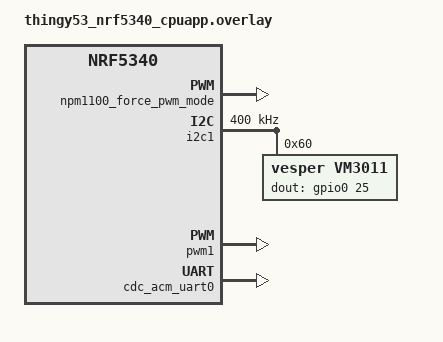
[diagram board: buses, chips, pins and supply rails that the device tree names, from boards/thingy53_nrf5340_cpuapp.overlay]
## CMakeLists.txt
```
#
# Copyright (c) 2022 Edge Impulse
#
#

cmake_minimum_required(VERSION 3.13.1)

set(PM_STATIC_YML_FILE ${CMAKE_CURRENT_SOURCE_DIR}/boards/pm_static_${BOARD}.yml)
set(CMAKE_CXX_STANDARD 11)
set(CMAKE_CXX_STANDARD_REQUIRED ON)

list(APPEND ZEPHYR_EXTRA_MODULES ${CMAKE_CURRENT_SOURCE_DIR}/drivers/vm3011 )

########################################################################## 
find_package(Zephyr REQUIRED HINTS $ENV{ZEPHYR_BASE})
project("firmware-nordic-thingy53-internal"
          VERSION 0.1)
##########################################################################

add_subdirectory(ei-model/edge-impulse-sdk/cmake/zephyr)

# Needed for colorful output
zephyr_compile_options(-fdiagnostics-color=always)

# Use hardware acceleration for DSP and Neural Network code
# You'll need to disable these on non-Arm cores
add_definitions(-DEIDSP_USE_CMSIS_DSP=1
                -DEIDSP_LOAD_CMSIS_DSP_SOURCES=1
                -DEI_CLASSIFIER_TFLITE_ENABLE_CMSIS_NN=1
                -DEIDSP_QUANTIZE_FILTERBANK=0
                -DARM_MATH_LOOPUNROLL
                -DEI_SENSOR_AQ_STREAM=FILE
                -DMBEDTLS_PLATFORM_ZEROIZE_ALT
                )

# Edge impulse SDK include directories
set(INCLUDES
    .
    drivers
    ei-model
    ei-model/tflite-model
    ei-model/model-parameters
    src
    src/libs/mbedtls_hmac_sha256_sw
    src/libs/QCBOR/inc
    src/libs/QCBOR/src
    src/libs
    )
include_directories(${INCLUDES})

RECURSIVE_FIND_FILE(MODEL_FILES "ei-model/tflite-model" "*.cpp")
RECURSIVE_FIND_FILE(FIRMWARE_SDK_FILES "firmware-sdk" "*.cpp")
RECURSIVE_FIND_FILE(LIB_QCBOR_FILES "src/libs/QCBOR/src" "*.c")
RECURSIVE_FIND_FILE(LIB_MBEDTLS_FILES "src/libs/mbedtls_hmac_sha256_sw/mbedtls/src" "*.c")
RECURSIVE_FIND_FILE(LIB_SENSOR_AQ_MBEDTLS_FILES "src/libs/sensor_aq_mbedtls" "*.cpp")
RECURSIVE_FIND_FILE(SENSORS_FILES "src/sensors" "*.cpp")
RECURSIVE_FIND_FILE(INFERENCE_FILES "src/inference" "*.cpp")

list(APPEND SOURCE_FILES ${MODEL_FILES})
list(APPEND SOURCE_FILES ${FIRMWARE_SDK_FILES})
list(APPEND SOURCE_FILES ${LIB_QCBOR_FILES})
list(APPEND SOURCE_FILES ${LIB_MBEDTLS_FILES})
list(APPEND SOURCE_FILES ${LIB_SENSOR_AQ_MBEDTLS_FILES})
list(APPEND SOURCE_FILES ${SENSORS_FILES})
list(APPEND SOURCE_FILES ${INFERENCE_FILES})

# add all sources to the project
target_sources(app PRIVATE ${SOURCE_FILES})
target_sources(app PRIVATE src/ei_base64_encode.cpp)
target_sources(app PRIVATE src/ei_device_thingy53.cpp)
target_sources(app PRIVATE src/ei_sampler.cpp)
target_sources(app PRIVATE src/flash_memory.cpp)
target_sources(app PRIVATE src/ei_result_aggregation.cpp)
target_sources(app PRIVATE src/beacon.c)
target_sources(app PRIVATE src/buzzer.c)
target_sources(app PRIVATE src/main.cpp)

# Preinitialization related to Thingy:53 DFU
target_sources_ifdef(CONFIG_BOARD_THINGY53_NRF5340_CPUAPP app PRIVATE
  boards/thingy53.c
)
```

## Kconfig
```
#
# Copyright (c) 2018 Nordic Semiconductor
#
# SPDX-License-Identifier: LicenseRef-BSD-5-Clause-Nordic
#

source "Kconfig.zephyr"

config EI_INFERENCE_THREAD_STACK
	int "Inference thread stack size"
	default 256
	help
	  "Set the Edge Impulse inference thread stack size."

config EI_INFERENCE_THREAD_PRIO
	int "Inference thread priority"
	default 5
	help
	  "Set the Edge Impulse inference thread priority. The lower number, the higher prority."

config BUZZER
	bool "Enable buzzer"
	default y 
	select PWM 
	select PWM_1 

if BUZZER

config BUZZER_PWM_DEV_NAME
	string "PWM device name for buzzer"
	default "PWM_1" 

config BUZZER_PIN
	int "Buzzer pin number"
	default 47

config BUZZER_MIN_FREQUENCY
	int "Minimum buzzer frequency"
	default 100

config BUZZER_MAX_FREQUENCY
	int "Maximum buzzer frequency"
	default 10000

endif # BUZZER

config SHOWER_TIME_MINUTES_WARNING
	int "Max. acceptable shower time ... ;)"
	default 5
```

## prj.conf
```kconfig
#
# Copyright (c) 2022 Edge Impulse
#
################################################################################
# Application configuratin

CONFIG_GPIO=y
# enable c++ support
CONFIG_CPLUSPLUS=y
CONFIG_LIB_CPLUSPLUS=y
CONFIG_NEWLIB_LIBC=y
CONFIG_NEWLIB_LIBC_FLOAT_PRINTF=y

# enable reboot from user space
CONFIG_REBOOT=y

# enable floating point unit
CONFIG_FPU=y

CONFIG_MAIN_STACK_SIZE=8192
CONFIG_HEAP_MEM_POOL_SIZE=16384
CONFIG_SYSTEM_WORKQUEUE_STACK_SIZE=4096
CONFIG_EI_INFERENCE_THREAD_STACK=4096

# serial console
CONFIG_SERIAL=y
CONFIG_UART_INTERRUPT_DRIVEN=y
CONFIG_CONSOLE_SUBSYS=n
CONFIG_CONSOLE_GETCHAR=n
CONFIG_USB_DEVICE_REMOTE_WAKEUP=n

CONFIG_NCS_SAMPLES_DEFAULTS=n
# Logging
CONFIG_ASSERT_NO_COND_INFO=y
CONFIG_ASSERT_NO_MSG_INFO=y
CONFIG_HW_STACK_PROTECTION=y

CONFIG_DEBUG=y
CONFIG_LOG=y
CONFIG_LOG_MODE_DEFERRED=y
CONFIG_LOG_PRINTK=y
CONFIG_LOG_PROCESS_THREAD_STARTUP_DELAY_MS=4000
CONFIG_LOG_BACKEND_UART=n
CONFIG_LOG_BACKEND_RTT=y
CONFIG_LOG_STRDUP_MAX_STRING=1024
# configure Segger RTT
CONFIG_USE_SEGGER_RTT=y
CONFIG_SEGGER_RTT_BUFFER_SIZE_UP=4096

# configure bluetooth
CONFIG_BT=y
CONFIG_BT_DEBUG_LOG=y
CONFIG_BT_DEVICE_NAME="ShowerTime"


CONFIG_CJSON_LIB=y

CONFIG_MCUBOOT_IMAGE_VERSION="1.0.0"
```

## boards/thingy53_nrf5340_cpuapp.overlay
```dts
/*
 * Copyright (c) 2022, Edge Impulse
 *
 */

&i2c1 {
    clock-frequency = <I2C_BITRATE_FAST>;
    vm3011@60 {
        compatible = "vesper,vm3011";
        label = "VM3011";
        reg = <0x60>;
        clk-pin = <41>;
        data-pin = <27>;
        dout-gpios = <&gpio0 25 GPIO_ACTIVE_HIGH>;
    };
};

	/* PWM1 is intended for buzzer control */
	&pwm1 {
		status = "okay";
		ch0-pin = <47>;
	};
	

/*
 * This file is used to enable a partition which is used through the flash API
 * but which is in reality stored in RAM. This is done to load data from
 * external flash to the network core. Since the network core cannot access
 * the external flash directly, the data is buffered in RAM before being
 * copied by the network core to the network core flash.
 *
 * The partition must be enabled by the application configuration to prevent
 * bus faults when mcumgr tries to access simulated partition with network core
 * image data.
 */

/ {
	soc {
		/* Add a flash controller which has the compatible
		 * 'zephyr,sim-flash'. This will ensure that the flash
		 * simulator can use it. None of the other properties in this
		 * node is used for anything.
		 */
		nordic_ram_flash_controller: nordic_ram-flash-controller@0 {
			compatible = "zephyr,sim-flash";
			reg = <0x00000000 DT_SIZE_K(40)>;
			#address-cells = <1>;
			#size-cells = <1>;
			erase-value = <0xff>;
			label = "nordic_ram_flash_flash_controller";

			/* This node label must match that used in the flash
			 * simulator.
			 */
			flash_sim0: flash_sim@0 {
				status = "okay";
				compatible = "soc-nv-flash";
				label = "simulated_flash";
				erase-block-size = <4096>;
				write-block-size = <4>;
				reg = <0x00000000 DT_SIZE_K(256)>;

				partitions {
					compatible = "fixed-partitions";
					#address-cells = <1>;
					#size-cells = <1>;

					/* This partition must be defined for
					 * MCUboot to find the partition ID
					 * of the primary slot for image 1,
					 * which is stored in this partition.
					 */
					slot2_partition: partition@0 {
						label = "image-2";
						reg = <0x00000000 0x00000A000>;
					};
				};
			};
		};

		aliases {
			buzzer-pwm = &pwm1;
		};
		
		
	};


	npm1100_force_pwm_mode: npm1100_force_pwm_mode {
		status = "okay";
	};

	chosen {
		zephyr,console = &cdc_acm_uart0;
		zephyr,shell-uart = &cdc_acm_uart0;
		nordic,pm-ext-flash = &mx25r64;
	};
};

&zephyr_udc0 {
	cdc_acm_uart0: cdc_acm_uart0 {
		compatible = "zephyr,cdc-acm-uart";
		label = "CDC_ACM_0";
	};
};
```

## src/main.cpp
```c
/*
SPDX-License-Identifier: GPL-3.0-or-later

smart-shower-timer
Copyright (C) 2022  dxcfl

This program is free software: you can redistribute it and/or modify
it under the terms of the GNU General Public License as published by
the Free Software Foundation, either version 3 of the License, or
(at your option) any later version.

This program is distributed in the hope that it will be useful,
but WITHOUT ANY WARRANTY; without even the implied warranty of
MERCHANTABILITY or FITNESS FOR A PARTICULAR PURPOSE.  See the
GNU General Public License for more details.

You should have received a copy of the GNU General Public License
along with this program.  If not, see <http://www.gnu.org/licenses/>.
*/

#include "ei_device_thingy53.h"
#include "edge-impulse-sdk/porting/ei_classifier_porting.h"
#include "inference/ei_run_impulse.h"
#include "sensors/ei_microphone.h"
#include <drivers/uart.h>
#include <logging/log.h>
#include <nrfx_clock.h>
#include <zephyr.h>
#include "ei_result_aggregation.h"
#include <dk_buttons_and_leds.h>
#include "beacon.h"
#include "buzzer.h"

#define LOG_MODULE_NAME main
LOG_MODULE_REGISTER(LOG_MODULE_NAME);

#define LED_RED DK_LED1
#define LED_GREEN DK_LED2
#define LED_BLUE DK_LED3
#define USER_BUTTON DK_BTN1_MSK

#define SHOWER_TIME_MINUTES_WARNING CONFIG_SHOWER_TIME_MINUTES_WARNING

static const struct device *uart;

void ei_putchar(char c)
{
    // it is ~30% faster than printf
    uart_fifo_fill(uart, (const uint8_t *)&c, 1);
}

// Beep and blink red LED multiple times
static void beep(const uint8_t repeat, uint16_t length)
{
    for (uint8_t i = 0; i < repeat; i++)
    {
        buzzer_set_frequency(440, 100);
        dk_set_led(LED_RED, 1);
        ei_sleep(length);
        dk_set_led(LED_RED, 0);
    }
    buzzer_set_frequency(0, 0);
    ei_sleep(length * repeat);
}

// Button handler ...
static void button_changed(uint32_t button_state, uint32_t has_changed)
{
    static uint32_t usrbtnprsd_tm = 0;
    const static uint32_t lngprs_tm = 3000;

    if (has_changed & USER_BUTTON)
    {
        uint32_t user_button_state = button_state & USER_BUTTON;
        if (user_button_state)
        {
            usrbtnprsd_tm = k_uptime_get_32();
        }
        else
        {
            // Button pressed (released) long: Reset aggregation ...
            if (k_uptime_get_32() - usrbtnprsd_tm >= lngprs_tm)
            {
                LOG_INF("User button pressed (long)!\n");
                if (is_inference_running())
                {
                    ei_stop_impulse();
                }
                ei_result_aggregation_init(0.5);
                beacon_update_with_time(0);
                dk_set_led(LED_GREEN, 1);
                dk_set_led(LED_RED, 1);
                dk_set_led(LED_BLUE, 1);
                ei_sleep(1000);
                dk_set_led(LED_GREEN, 0);
                dk_set_led(LED_RED, 0);
                dk_set_led(LED_BLUE, 0);
            }
            // Button pressed (released) short: Start / stop detection ...
            else
            {
                LOG_INF("Button pressed!\n");
                if (is_inference_running())
                {
                    ei_stop_impulse();
                }
                else
                {
                    ei_start_impulse(false, false);
                }
            }
        }
    }
}

// Setup button handler
static int init_button(void)
{
    int err;

    err = dk_buttons_init(button_changed);
    if (err)
    {
        printk("Cannot init buttons (err: %d)\n", err);
    }

    return err;
}

int main(void)
{
    /* output of printf is output immediately without buffering */
    setvbuf(stdout, NULL, _IONBF, 0);

    /* Switch CPU core clock to 128 MHz */
    nrfx_clock_divider_set(NRF_CLOCK_DOMAIN_HFCLK, NRF_CLOCK_HFCLK_DIV_1);

    /* Initialize board uart */
    uart = device_get_binding("CDC_ACM_0");
    if (!uart)
    {
        LOG_ERR("Failed to init CDC_ACM_0\n");
    }

    /* Setup the microphone sensor */
    if (ei_microphone_init() == false)
    {
        LOG_ERR("Microphone init failed!");
    }

    /* Setup BLE beacon */
    beacon_start();

    /* Setup buzzer */
    buzzer_init();

    /* Setup button */
    init_button();

    // Beep!
    beep(1, 5000);

    // Reset result aggregation
    ei_result_aggregation_init(0.5);

    uint32_t previous_meassured_time_millis = 0;
    while (1)
    {
        if (is_inference_running())
        {
            uint32_t meassured_time_millis = ei_result_aggregation_get_time(1);

            if (meassured_time_millis != previous_meassured_time_millis)
            {
                dk_set_led(LED_GREEN, 1);
                ei_sleep(500);
                dk_set_led(LED_GREEN, 0);
                beacon_update_with_time(meassured_time_millis);
                previous_meassured_time_millis = meassured_time_millis;
            }

            uint32_t meassured_time_minutes = meassured_time_millis / 60000;
            if (meassured_time_minutes >= SHOWER_TIME_MINUTES_WARNING)
            {
                beep(meassured_time_minutes, 500);
            }
        }
        ei_sleep(1);
    }
}
```

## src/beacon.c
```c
/*
SPDX-License-Identifier: GPL-3.0-or-later

iaq-monitor-demo
Copyright (C) 2021  dxcfl

This program is free software: you can redistribute it and/or modify
it under the terms of the GNU General Public License as published by
the Free Software Foundation, either version 3 of the License, or
(at your option) any later version.

This program is distributed in the hope that it will be useful,
but WITHOUT ANY WARRANTY; without even the implied warranty of
MERCHANTABILITY or FITNESS FOR A PARTICULAR PURPOSE.  See the
GNU General Public License for more details.

You should have received a copy of the GNU General Public License
along with this program.  If not, see <http://www.gnu.org/licenses/>.
*/

#include <device.h>
#include <devicetree.h>
#include <drivers/sensor.h>
#include <drivers/sensor/ccs811.h>
#include <drivers/display.h>
#include <zephyr.h>
#include <stdio.h>
#include <string.h>
#include <bluetooth/bluetooth.h>
#include <bluetooth/hci.h>

#define LOG_LEVEL CONFIG_LOG_DEFAULT_LEVEL
#include <logging/log.h>
LOG_MODULE_REGISTER(app);

#define DEVICE_NAME CONFIG_BT_DEVICE_NAME
#define DEVICE_NAME_LEN (sizeof(DEVICE_NAME) - 1)

/* Auxiliary function: Format time string.
 */
static const char *time_str(uint32_t time, bool with_millis)
{
	static char buf[16]; /* ...HH:MM:SS.MMM */
	unsigned int ms = time % MSEC_PER_SEC;
	unsigned int s;
	unsigned int min;
	unsigned int h;

	time /= MSEC_PER_SEC;
	s = time % 60U;
	time /= 60U;
	min = time % 60U;
	time /= 60U;
	h = time;
	if (with_millis)
		snprintf(buf, sizeof(buf), "%u:%02u:%02u.%03u",
				 h, min, s, ms);
	else
		snprintf(buf, sizeof(buf), "%u:%02u:%02u",
				 h, min, s);

	return buf;
}

static const char *now_str()
{
	return time_str(k_uptime_get_32(), true);
}

/* Bluetooth beacon setup ...
 * "stolen" from the Zephyr bluetooth beacon example
 * (zephyr/samples/bluetooth/beacon/main.c).
 * Setup a non-connectable Eddystone beacon.
 * Later we will "abuse" the name data in the scan
 * resonse to transport our IAQ rating.
 */

/*
 * Set Advertisement data. Based on the Eddystone specification:
 * https://github.com/google/eddystone/blob/master/protocol-specification.md
 * https://github.com/google/eddystone/tree/master/eddystone-url
 */
static const struct bt_data ad[] = {
	BT_DATA_BYTES(BT_DATA_FLAGS, BT_LE_AD_NO_BREDR),
	BT_DATA_BYTES(BT_DATA_UUID16_ALL, 0xaa, 0xfe),
	BT_DATA_BYTES(BT_DATA_SVC_DATA16,
				  0xaa, 0xfe, /* Eddystone UUID */
				  0x10,		  /* Eddystone-URL frame type */
				  0x00,		  /* Calibrated Tx power at 0m */
				  0x00,		  /* URL Scheme Prefix http://www. */
				  'e', 'x', 'a', 'm', 'p', 'l', 'e',
				  0x08) /* .org */
};

/* Set Scan Response data */
static const struct bt_data sd[] = {
	BT_DATA(BT_DATA_NAME_COMPLETE, DEVICE_NAME, DEVICE_NAME_LEN),
	BT_DATA(BT_DATA_NAME_SHORTENED, DEVICE_NAME, DEVICE_NAME_LEN),
};

static void bt_ready(int err)
{

	char addr_s[BT_ADDR_LE_STR_LEN];
	bt_addr_le_t addr = {0};
	size_t count = 1;

	if (err)
	{
		printk("\n[%s]: Bluetooth init failed (err %d)\n", now_str(), err);
		return;
	}
	printk("\n[%s]: Bluetooth initialized\n", now_str());

	/* Start advertising */
	err = bt_le_adv_start(BT_LE_ADV_NCONN_IDENTITY, ad, ARRAY_SIZE(ad),
						  sd, ARRAY_SIZE(sd));
	if (err)
	{
		printk("\n[%s]: Advertising failed to start (err %d)\n", now_str(), err);
		return;
	}

	/* For connectable advertising you would use
	 * bt_le_oob_get_local().  For non-connectable non-identity
	 * advertising an non-resolvable private address is used;
	 * there is no API to retrieve that.
	 */

	bt_id_get(&addr, &count);
	bt_addr_le_to_str(&addr, addr_s, sizeof(addr_s));

	printk("\n[%s]: Beacon started, advertising as %s\n", now_str(), addr_s);
}

/*
 * Beacon start ...
 */
void beacon_start()
{
	/* Setup and start Bluetooth beacon
	 */
	int bt_err;
	printk("\n[%s]: BT: Starting beacon ...\n", now_str());
	bt_err = bt_enable(bt_ready);
	if (bt_err)
	{
		printk("\n[%s]: BT: Initiialization failed (err %d)\n", now_str(), bt_err);
	}
}

/*
 * Beacon update ...
 */
void beacon_update_with_time(uint32_t time)
{
	/* Update the scan reponse data for the Bluetooth beacon: 'Misuse' the name data for
	 *  transporting the time.
	 */
	beacon_update(time_str(time, true));
}

/*
 * Beacon update ...
 */
void beacon_update(const char *name)
{
	int bt_err;

	struct bt_data new_sd[] = {
		BT_DATA(BT_DATA_NAME_COMPLETE, name, strlen(name)),
		BT_DATA(BT_DATA_NAME_SHORTENED, DEVICE_NAME, DEVICE_NAME_LEN),
	};
	bt_err = bt_le_adv_update_data(ad, ARRAY_SIZE(ad),
								   new_sd, ARRAY_SIZE(new_sd));
	if (bt_err)
	{
		printk("\n[%s]: BT: Advertising update failed (err %d)\n", now_str(), bt_err);
	}
}
```

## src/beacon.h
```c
/*
SPDX-License-Identifier: GPL-3.0-or-later

iaq-monitor-demo
Copyright (C) 2021  dxcfl

This program is free software: you can redistribute it and/or modify
it under the terms of the GNU General Public License as published by
the Free Software Foundation, either version 3 of the License, or
(at your option) any later version.

This program is distributed in the hope that it will be useful,
but WITHOUT ANY WARRANTY; without even the implied warranty of
MERCHANTABILITY or FITNESS FOR A PARTICULAR PURPOSE.  See the
GNU General Public License for more details.

You should have received a copy of the GNU General Public License
along with this program.  If not, see <http://www.gnu.org/licenses/>.
*/

#ifndef _BEACON_H
#define _BEACON_H

#include <cstddef>

#ifdef __cplusplus
extern "C" {
#endif

/*
 * Beacon start ...
 */
void beacon_start();

/*
 * Beacon update ...
 */
void beacon_update_with_time(uint32_t time);

/*
 * Beacon update ...
 */
void beacon_update(const char *name);

#ifdef __cplusplus
}
#endif

#endif /* _BEACON_H */
```

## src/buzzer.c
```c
/*
 * Copyright (c) 2019 Nordic Semiconductor ASA
 *
 * SPDX-License-Identifier: LicenseRef-Nordic-5-Clause
 */

#include <zephyr.h>
#include <drivers/pwm.h>
#include <logging/log.h>

#define LOG_MODULE_NAME buzzer
LOG_MODULE_REGISTER(LOG_MODULE_NAME);

#define BUZZER_MIN_FREQUENCY CONFIG_BUZZER_MIN_FREQUENCY
#define BUZZER_MAX_FREQUENCY CONFIG_BUZZER_MAX_FREQUENCY
#define BUZZER_MIN_INTENSITY 0
#define BUZZER_MAX_INTENSITY 100
#define BUZZER_MIN_DUTY_CYCLE_DIV 100
#define BUZZER_MAX_DUTY_CYCLE_DIV 2

const struct device *pwm_dev;
static atomic_t buzzer_enabled;

static uint32_t intensity_to_duty_cycle_divisor(uint8_t intensity)
{
	return MIN(
		MAX(((intensity - BUZZER_MIN_INTENSITY) *
				 (BUZZER_MAX_DUTY_CYCLE_DIV - BUZZER_MIN_DUTY_CYCLE_DIV) /
				 (BUZZER_MAX_INTENSITY - BUZZER_MIN_INTENSITY) +
			 BUZZER_MIN_DUTY_CYCLE_DIV),
			BUZZER_MAX_DUTY_CYCLE_DIV),
		BUZZER_MIN_DUTY_CYCLE_DIV);
}

static int pwm_out(uint32_t frequency, uint8_t intensity)
{
	static uint32_t prev_period;
	uint32_t period = (frequency > 0) ? USEC_PER_SEC / frequency : 0;
	uint32_t duty_cycle = (intensity == 0) ? 0 : period / intensity_to_duty_cycle_divisor(intensity);

	/* Applying workaround due to limitations in PWM driver that doesn't
	 * allow changing period while PWM is running. Setting pulse to 0
	 * disables the PWM, but not before the current period is finished.
	 */
	if (prev_period)
	{
		pwm_pin_set_usec(pwm_dev, CONFIG_BUZZER_PIN,
						 prev_period, 0, 0);
		k_sleep(K_MSEC(MAX((prev_period / USEC_PER_MSEC), 1)));
	}

	prev_period = period;

	return pwm_pin_set_usec(pwm_dev, CONFIG_BUZZER_PIN,
							period, duty_cycle, 0);
}

static void buzzer_disable(void)
{
	atomic_set(&buzzer_enabled, 0);

	pwm_out(0, 0);

#ifdef CONFIG_DEVICE_POWER_MANAGEMENT
	int err = device_set_power_state(pwm_dev,
									 DEVICE_PM_SUSPEND_STATE,
									 NULL, NULL);
	if (err)
	{
		LOG_ERR("PWM disable failed");
	}
#endif
}

static int buzzer_enable(void)
{
	int err = 0;

	atomic_set(&buzzer_enabled, 1);

#ifdef CONFIG_DEVICE_POWER_MANAGEMENT
	err = device_set_power_state(pwm_dev,
								 DEVICE_PM_ACTIVE_STATE,
								 NULL, NULL);
	if (err)
	{
		LOG_ERR("PWM enable failed");
		return err;
	}
#endif

	return err;
}

int buzzer_init(void)
{
	const char *dev_name = CONFIG_BUZZER_PWM_DEV_NAME;
	int err = 0;

	pwm_dev = device_get_binding(dev_name);
	if (!pwm_dev)
	{
		LOG_ERR("Could not bind to device %s", log_strdup(dev_name));
		err = -ENODEV;
	}

	buzzer_enable();

	return err;
}

int buzzer_set_frequency(uint32_t frequency, uint8_t intensity)
{
	if (frequency == 0 || intensity == 0)
	{
		LOG_DBG("Frequency set to 0, disabling PWM\n");
		buzzer_disable();
		return 0;
	}

	if ((frequency < BUZZER_MIN_FREQUENCY) ||
		(frequency > BUZZER_MAX_FREQUENCY))
	{
		return -EINVAL;
	}

	if ((intensity < BUZZER_MIN_INTENSITY) ||
		(intensity > BUZZER_MAX_INTENSITY))
	{
		return -EINVAL;
	}

	if (!atomic_get(&buzzer_enabled))
	{
		buzzer_enable();
	}

	return pwm_out(frequency, intensity);
}
```

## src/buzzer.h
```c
/*
 * Copyright (c) 2019 Nordic Semiconductor ASA
 *
 * SPDX-License-Identifier: LicenseRef-Nordic-5-Clause
 */
/**@file
 *
 * @brief   Buzzer control for the User Interface module. The module uses PWM to
 *	    control the buzzer output frequency.
 */

#ifndef BUZZER_H__
#define BUZZER_H__

#include <zephyr.h>

#ifdef __cplusplus
extern "C"
{
#endif

    /**@brief Initialize buzzer. */
    int buzzer_init(void);

    /**
     * @brief Set the buzzer frequency.
     *
     * @param frequency Frequency. If set to 0, the buzzer is disabled.
     *		    The frequency is limited to the range 100 - 10 000 Hz.
     * @param intensity Intensity of the buzzer output. If set to 0, the buzzer is
     *		    disabled.
     *		    The Intensity is limited to the range 0 - 100 %.
     *
     * @return 0 on success or negative error value on failure.
     */
    int buzzer_set_frequency(uint32_t frequency, uint8_t intensity);

#ifdef __cplusplus
}
#endif

#endif /* BUZZER_H__ */
```

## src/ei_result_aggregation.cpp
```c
/* EdgeImpulse firmware-nordic-thingy53 extension for simple result aggregation 
 * Copyright (c) 2022 dxcfl.
 *
 * Permission is hereby granted, free of charge, to any person obtaining a copy
 * of this software and associated documentation files (the "Software"), to deal
 * in the Software without restriction, including without limitation the rights
 * to use, copy, modify, merge, publish, distribute, sublicense, and/or sell
 * copies of the Software, and to permit persons to whom the Software is
 * furnished to do so, subject to the following conditions:
 *
 * The above copyright notice and this permission notice shall be included in
 * all copies or substantial portions of the Software.
 *
 * THE SOFTWARE IS PROVIDED "AS IS", WITHOUT WARRANTY OF ANY KIND, EXPRESS OR
 * IMPLIED, INCLUDING BUT NOT LIMITED TO THE WARRANTIES OF MERCHANTABILITY,
 * FITNESS FOR A PARTICULAR PURPOSE AND NONINFRINGEMENT. IN NO EVENT SHALL THE
 * AUTHORS OR COPYRIGHT HOLDERS BE LIABLE FOR ANY CLAIM, DAMAGES OR OTHER
 * LIABILITY, WHETHER IN AN ACTION OF CONTRACT, TORT OR OTHERWISE, ARISING FROM,
 * OUT OF OR IN CONNECTION WITH THE SOFTWARE OR THE USE OR OTHER DEALINGS IN THE
 * SOFTWARE.
 */

#include <stdint.h>
#include <cstddef>
#include "ei_result_aggregation.h"
#include "edge-impulse-sdk/classifier/ei_classifier_types.h"
#include "cJSON.h"
#include <logging/log.h>
#include <zephyr.h>

static ei_result_aggregation_t result_aggregation;

void ei_result_aggregation_init(const float value_threshold)
{
    result_aggregation = {0};
    result_aggregation.value_threshold = value_threshold;
}

void ei_result_aggregation_update(ei_impulse_result_t *result)
{
    uint32_t update = k_uptime_get_32();

    for (size_t ix = 0; ix < EI_CLASSIFIER_LABEL_COUNT; ix++)
    {
        float value = result->classification[ix].value;
        if (value >= result_aggregation.value_threshold)
        {
            if (result_aggregation.update == result_aggregation.aggregation[ix].update)
            {
                result_aggregation.aggregation[ix].runlength_last++;
            }
            else
            {
                result_aggregation.aggregation[ix].runlength_last = 1;
            }
            if (result_aggregation.aggregation[ix].runlength_last > result_aggregation.aggregation[ix].runlength_max)
            {
                result_aggregation.aggregation[ix].runlength_max = result_aggregation.aggregation[ix].runlength_last;
            }
            result_aggregation.aggregation[ix].count++;
            result_aggregation.aggregation[ix].time_sum += (update - result_aggregation.update);
            result_aggregation.aggregation[ix].update = update;
            ;

            if (value > result_aggregation.aggregation[ix].value_max)
            {
                result_aggregation.aggregation[ix].value_max = value;
            }
            if (value < result_aggregation.aggregation[ix].value_min)
            {
                result_aggregation.aggregation[ix].value_min = value;
            }
            if (result_aggregation.aggregation[ix].value_avg > 0)
            {
                result_aggregation.aggregation[ix].value_avg += value;
                result_aggregation.aggregation[ix].value_avg /= 2;
            }
        }
    }
    result_aggregation.update = update;
    result_aggregation.count++;
}

void ei_result_aggregation_add_to_json_object(cJSON *object, const char *name, size_t ix)
{
    cJSON *agg = cJSON_AddObjectToObject(object, name);
    cJSON_AddNumberToObject(agg, "count", result_aggregation.aggregation[ix].count);
    cJSON_AddNumberToObject(agg, "time", result_aggregation.aggregation[ix].time_sum);
    cJSON_AddNumberToObject(agg, "value.min", result_aggregation.aggregation[ix].value_min);
    cJSON_AddNumberToObject(agg, "value.avg", result_aggregation.aggregation[ix].value_avg);
    cJSON_AddNumberToObject(agg, "value.max", result_aggregation.aggregation[ix].value_max);
    cJSON_AddNumberToObject(agg, "run.last", result_aggregation.aggregation[ix].runlength_last);
    cJSON_AddNumberToObject(agg, "run.max", result_aggregation.aggregation[ix].runlength_max);
}

uint32_t ei_result_aggregation_get_time(size_t ix)
{
    return result_aggregation.aggregation[ix].time_sum;
}
```

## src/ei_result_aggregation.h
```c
/* EdgeImpulse firmware-nordic-thingy53 extension for simple result aggregation
 * Copyright (c) 2022 dxcfl.
 *
 * Permission is hereby granted, free of charge, to any person obtaining a copy
 * of this software and associated documentation files (the "Software"), to deal
 * in the Software without restriction, including without limitation the rights
 * to use, copy, modify, merge, publish, distribute, sublicense, and/or sell
 * copies of the Software, and to permit persons to whom the Software is
 * furnished to do so, subject to the following conditions:
 *
 * The above copyright notice and this permission notice shall be included in
 * all copies or substantial portions of the Software.
 *
 * THE SOFTWARE IS PROVIDED "AS IS", WITHOUT WARRANTY OF ANY KIND, EXPRESS OR
 * IMPLIED, INCLUDING BUT NOT LIMITED TO THE WARRANTIES OF MERCHANTABILITY,
 * FITNESS FOR A PARTICULAR PURPOSE AND NONINFRINGEMENT. IN NO EVENT SHALL THE
 * AUTHORS OR COPYRIGHT HOLDERS BE LIABLE FOR ANY CLAIM, DAMAGES OR OTHER
 * LIABILITY, WHETHER IN AN ACTION OF CONTRACT, TORT OR OTHERWISE, ARISING FROM,
 * OUT OF OR IN CONNECTION WITH THE SOFTWARE OR THE USE OR OTHER DEALINGS IN THE
 * SOFTWARE.
 */

#ifndef EI_RESULT_AGGREGATION_H
#define EI_RESULT_AGGREGATION_H

#include <stdint.h>
#include <cstddef>
#include "edge-impulse-sdk/classifier/ei_classifier_types.h"
#include "cJSON.h"

typedef struct
{
    uint32_t update;
    uint32_t count;
    uint32_t time_sum;
    uint32_t runlength_last;
    uint32_t runlength_max;
    float value_min;
    float value_max;
    float value_avg;
} ei_result_aggregation_item_t;

typedef struct
{
    float value_threshold;
    uint32_t update;
    uint32_t count;
    ei_result_aggregation_item_t aggregation[EI_CLASSIFIER_MAX_LABELS_COUNT];
} ei_result_aggregation_t;

void ei_result_aggregation_init(const float value_threshold);

void ei_result_aggregation_update(ei_impulse_result_t *result);

void ei_result_aggregation_add_to_json_object(cJSON *object, const char *name, size_t ix);

uint32_t ei_result_aggregation_get_time(size_t ix);

#endif // EI_RESULT_AGGREGATION_H
```

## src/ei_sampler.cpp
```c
/* Edge Impulse ingestion SDK
 * Copyright (c) 2022 EdgeImpulse Inc.
 *
 * Permission is hereby granted, free of charge, to any person obtaining a copy
 * of this software and associated documentation files (the "Software"), to deal
 * in the Software without restriction, including without limitation the rights
 * to use, copy, modify, merge, publish, distribute, sublicense, and/or sell
 * copies of the Software, and to permit persons to whom the Software is
 * furnished to do so, subject to the following conditions:
 *
 * The above copyright notice and this permission notice shall be included in
 * all copies or substantial portions of the Software.
 *
 * THE SOFTWARE IS PROVIDED "AS IS", WITHOUT WARRANTY OF ANY KIND, EXPRESS OR
 * IMPLIED, INCLUDING BUT NOT LIMITED TO THE WARRANTIES OF MERCHANTABILITY,
 * FITNESS FOR A PARTICULAR PURPOSE AND NONINFRINGEMENT. IN NO EVENT SHALL THE
 * AUTHORS OR COPYRIGHT HOLDERS BE LIABLE FOR ANY CLAIM, DAMAGES OR OTHER
 * LIABILITY, WHETHER IN AN ACTION OF CONTRACT, TORT OR OTHERWISE, ARISING FROM,
 * OUT OF OR IN CONNECTION WITH THE SOFTWARE OR THE USE OR OTHER DEALINGS IN THE
 * SOFTWARE.
 */

/* REMOVED ALL LOGGING OUTPUT VIA BLE ...*/

/* Include ----------------------------------------------------------------- */
#include "ei_sampler.h"
#include "ei_device_thingy53.h"
#include "firmware-sdk/ei_device_memory.h"
#include "firmware-sdk/ei_config_types.h"
#include "sensor_aq_mbedtls/sensor_aq_mbedtls_hs256.h"
#include "edge-impulse-sdk/porting/ei_classifier_porting.h"
#include <zephyr.h>
#include <logging/log.h>
#include <cstdint>
#include <cstdlib>

#define LOG_MODULE_NAME ei_sampler
LOG_MODULE_REGISTER(LOG_MODULE_NAME);

/* Forward declarations ---------------------------------------------------- */
static size_t ei_write(const void *buffer, size_t size, size_t count, EI_SENSOR_AQ_STREAM *);
static int ei_seek(EI_SENSOR_AQ_STREAM *, long int offset, int origin);
static time_t ei_time(time_t *t);
static bool sample_data_callback(const void *sample_buf, uint32_t byteLenght);
static bool create_header(sensor_aq_payload_info *payload);

/* Private variables ------------------------------------------------------- */
static uint32_t samples_required;
static uint32_t current_sample;
static uint32_t sample_buffer_size;
static uint32_t headerOffset = 0;
static uint8_t write_word_buf[4];
static int write_addr = 0;
EI_SENSOR_AQ_STREAM stream;

static unsigned char ei_mic_ctx_buffer[1024];
static sensor_aq_signing_ctx_t ei_mic_signing_ctx;
static sensor_aq_mbedtls_hs256_ctx_t ei_mic_hs_ctx;
static sensor_aq_ctx ei_sampler_ctx = {
    {ei_mic_ctx_buffer, 1024},
    &ei_mic_signing_ctx,
    &ei_write,
    &ei_seek,
    &ei_time,
};

/**
 * @brief      Write sample data to FLASH
 * @details    Write size is always 4 bytes to keep alignment
 *
 * @param[in]  buffer     The buffer
 * @param[in]  size       The size
 * @param[in]  count      The count
 * @param      EI_SENSOR_AQ_STREAM file pointer (not used)
 *
 * @return     number of bytes handled
 */
static size_t ei_write(const void *buffer, size_t size, size_t count, EI_SENSOR_AQ_STREAM *)
{
    EiDeviceMemory *mem = EiDeviceInfo::get_device()->get_memory();

    for (size_t i = 0; i < count; i++)
    {
        write_word_buf[write_addr & 0x3] = *((char *)buffer + i);

        if ((++write_addr & 0x03) == 0x00)
        {
            mem->write_sample_data(write_word_buf, (write_addr - 4) + headerOffset, 4);
        }
    }

    return count;
}

/**
 * @brief      File handle seed function. Not used
 */
static int ei_seek(EI_SENSOR_AQ_STREAM *, long int offset, int origin)
{
    return 0;
}

/**
 * @brief      File handle time function. Not used
 */
static time_t ei_time(time_t *t)
{
    time_t cur_time = 4564867;
    if (t)
        *(t) = cur_time;
    return cur_time;
}

/**
 * @brief      Write out remaining data in word buffer to FLASH.
 *             And append CBOR end character.
 */
static void ei_write_last_data(void)
{
    EiDeviceMemory *mem = EiDeviceInfo::get_device()->get_memory();
    uint8_t fill = ((uint8_t)write_addr & 0x03);
    uint8_t insert_end_address = 0;

    if (fill != 0x00)
    {
        for (uint8_t i = fill; i < 4; i++)
        {
            write_word_buf[i] = 0xFF;
        }

        mem->write_sample_data(write_word_buf, (write_addr & ~0x03) + headerOffset, 4);
        insert_end_address = 4;
    }

    /* Write appending word for end character */
    for (uint8_t i = 0; i < 4; i++)
    {
        write_word_buf[i] = 0xFF;
    }
    mem->write_sample_data(write_word_buf, (write_addr & ~0x03) + headerOffset + insert_end_address, 4);
}

bool ei_sampler_start_sampling(void *v_ptr_payload, starter_callback ei_sample_start, uint32_t sample_size)
{
    EiDeviceThingy53 *dev = static_cast<EiDeviceThingy53 *>(EiDeviceInfo::get_device());
    EiDeviceMemory *mem = dev->get_memory();
    char *json_string = NULL;
    sensor_aq_payload_info *payload = (sensor_aq_payload_info *)v_ptr_payload;

    LOG_INF("Interval: %.5f ms.", dev->get_sample_interval_ms());
    LOG_INF("Length: %u ms.", dev->get_sample_length_ms());
    LOG_INF("Name: %s", log_strdup(dev->get_sample_label().c_str()));
    LOG_INF("HMAC Key: %s", log_strdup(dev->get_sample_hmac_key().c_str()));
    LOG_INF("File name: %s", log_strdup(dev->get_sample_label().c_str()));
    ei_printf("Sampling settings:\n");
    ei_printf("\tInterval: %.5f ms.\n", dev->get_sample_interval_ms());
    ei_printf("\tLength: %lu ms.\n", dev->get_sample_length_ms());
    ei_printf("\tName: %s\n", dev->get_sample_label().c_str());
    ei_printf("\tHMAC Key: %s\n", dev->get_sample_hmac_key().c_str());
    ei_printf("\tFile name: %s\n", dev->get_sample_label().c_str());

    samples_required = (uint32_t)((dev->get_sample_length_ms()) / dev->get_sample_interval_ms());
    sample_buffer_size = (samples_required * sample_size) * 2;
    current_sample = 0;

    // Minimum delay of 2000 ms for daemon
    uint32_t delay_time_ms = ((sample_buffer_size / mem->block_size) + 1) * mem->block_erase_time;
    LOG_INF("Starting in %d ms... (or until all flash was erased)", delay_time_ms < 2000 ? 2000 : delay_time_ms);
    ei_printf("Starting in %lu ms... (or until all flash was erased)\n", delay_time_ms < 2000 ? 2000 : delay_time_ms);

    dev->set_state(eiStateErasingFlash);

    if (mem->erase_sample_data(0, sample_buffer_size) != (sample_buffer_size))
    {
        ei_printf("ERR: Failed to erase samples memory\n");
        return false;
    }

    // if erasing took less than 2 seconds, wait additional time
    if (delay_time_ms < 2000)
    {
        ei_sleep(2000 - delay_time_ms);
    }

    if (create_header(payload) == false)
    {
        LOG_ERR("Failed to create header");
        return false;
    }

    if (ei_sample_start(&sample_data_callback, dev->get_sample_interval_ms()) == false)
    {
        LOG_ERR("Failed to start sampling");
        return false;
    }

    LOG_INF("Sampling...");

    ei_printf("Sampling...\n");

    dev->set_state(eiStateSampling);

    while (current_sample < samples_required)
    {
        ei_sleep(10);
    }
    dev->stop_sample_thread();

    ei_write_last_data();
    write_addr++;

    uint8_t final_byte[] = {0xff};
    int ctx_err = ei_sampler_ctx.signature_ctx->update(ei_sampler_ctx.signature_ctx, final_byte, 1);
    if (ctx_err != 0)
    {
        LOG_ERR("Failed to update data signature");
        return ctx_err;
    }

    // finish the signing
    ctx_err =
        ei_sampler_ctx.signature_ctx->finish(ei_sampler_ctx.signature_ctx, ei_sampler_ctx.hash_buffer.buffer);

    // load the first page in flash...
    uint8_t *page_buffer = (uint8_t *)ei_malloc(mem->block_size);
    if (!page_buffer)
    {
        LOG_ERR("Failed to allocate a page buffer to write the hash");
        ei_printf("Failed to allocate a page buffer to write the hash\n");
        return false;
    }

    uint32_t j = mem->read_sample_data(page_buffer, 0, mem->block_size);
    if (j != mem->block_size)
    {

        LOG_ERR("Failed to read first page (%d)", j);

        ei_printf("Failed to read first page (%d)\n", j);

        ei_free(page_buffer);
        return false;
    }

    // update the hash
    uint8_t *hash = ei_sampler_ctx.hash_buffer.buffer;
    // we have allocated twice as much for this data (because we also want to be able to represent
    // in hex) thus only loop over the first half of the bytes as the signature_ctx has written to
    // those
    for (size_t hash_ix = 0; hash_ix < (ei_sampler_ctx.hash_buffer.size / 2); hash_ix++)
    {
        // this might seem convoluted, but snprintf() with %02x is not always supported e.g. by
        // newlib-nano we encode as hex... first ASCII char encodes top 4 bytes
        uint8_t first = (hash[hash_ix] >> 4) & 0xf;
        // second encodes lower 4 bytes
        uint8_t second = hash[hash_ix] & 0xf;

        // if 0..9 -> '0' (48) + value, if >10, then use 'a' (97) - 10 + value
        char first_c = first >= 10 ? 87 + first : 48 + first;
        char second_c = second >= 10 ? 87 + second : 48 + second;

        page_buffer[ei_sampler_ctx.signature_index + (hash_ix * 2) + 0] = first_c;
        page_buffer[ei_sampler_ctx.signature_index + (hash_ix * 2) + 1] = second_c;
    }

    j = mem->erase_sample_data(0, mem->block_size);
    if (j != mem->block_size)
    {

        LOG_ERR("Failed to erase first page (%d)", j);

        ei_printf("Failed to erase first page (%d)\n", j);

        ei_free(page_buffer);
        return false;
    }

    j = mem->write_sample_data(page_buffer, 0, mem->block_size);

    ei_free(page_buffer);

    if (j != mem->block_size)
    {
        LOG_ERR("Failed to write first page with updated hash (%d)", j);
        ei_printf("Failed to write first page with updated hash (%d)\n", j);
        return false;
    }

    ei_printf("Done sampling, total bytes collected: %lu\n", samples_required);
    ei_printf("[1/1] Uploading file to Edge Impulse...\n");
    ei_printf("Not uploading file, not connected to WiFi. Used buffer, from=0, to=%lu.\n", write_addr + headerOffset);
    ei_printf("OK\n");

    return true;
}

/**
 * @brief      Create and write the CBOR header to FLASH
 *
 * @param      payload  The payload
 *
 * @return     True on success
 */
static bool create_header(sensor_aq_payload_info *payload)
{
    EiDeviceInfo *dev = EiDeviceInfo::get_device();
    EiDeviceMemory *mem = dev->get_memory();
    sensor_aq_init_mbedtls_hs256_context(&ei_mic_signing_ctx, &ei_mic_hs_ctx, dev->get_sample_hmac_key().c_str());

    int tr = sensor_aq_init(&ei_sampler_ctx, payload, NULL, true);

    if (tr != AQ_OK)
    {
        ei_printf("sensor_aq_init failed (%d)\n", tr);
        return false;
    }
    // then we're gonna find the last byte that is not 0x00 in the CBOR buffer.
    // That should give us the whole header
    size_t end_of_header_ix = 0;
    for (size_t ix = ei_sampler_ctx.cbor_buffer.len - 1; ix != 0; ix--)
    {
        if (((uint8_t *)ei_sampler_ctx.cbor_buffer.ptr)[ix] != 0x0)
        {
            end_of_header_ix = ix;
            break;
        }
    }

    if (end_of_header_ix == 0)
    {
        ei_printf("Failed to find end of header\n");
        return false;
    }

    // Write to blockdevice
    tr = mem->write_sample_data((uint8_t *)ei_sampler_ctx.cbor_buffer.ptr, 0, end_of_header_ix);

    if (tr != end_of_header_ix)
    {
        ei_printf("Failed to write to header blockdevice (%d)\n", tr);
        return false;
    }

    ei_sampler_ctx.stream = &stream;

    headerOffset = end_of_header_ix;
    write_addr = 0;

    return true;
}

/**
 * @brief      Write samples to FLASH in CBOR format
 *
 * @param[in]  sample_buf  The sample buffer
 * @param[in]  byteLenght  The byte lenght
 *
 * @return     true if all required samples are received. Caller should stop sampling,
 */
static bool sample_data_callback(const void *sample_buf, uint32_t byteLenght)
{
    sensor_aq_add_data(&ei_sampler_ctx, (float *)sample_buf, byteLenght / sizeof(float));

    if (++current_sample > samples_required)
    {
        return true;
    }
    else
    {
        return false;
    }
}

uint32_t ei_sampler_get_data_size(void)
{
    return write_addr + headerOffset;
}
```
